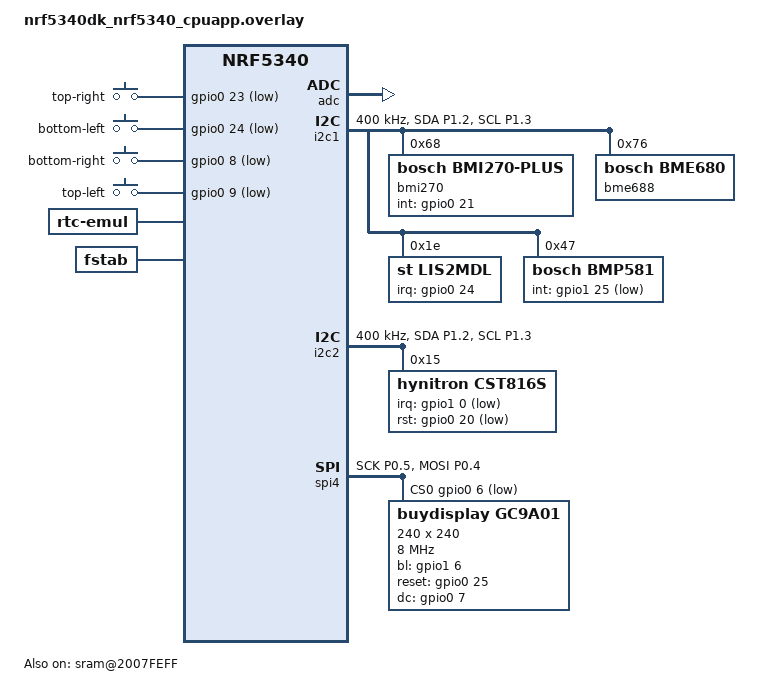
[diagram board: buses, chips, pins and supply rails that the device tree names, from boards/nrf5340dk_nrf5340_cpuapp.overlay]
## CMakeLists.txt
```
cmake_minimum_required(VERSION 3.20.0)

# Apply patches before build
file(GLOB_RECURSE files RELATIVE ${CMAKE_SOURCE_DIR} "patches/*.patch")
foreach(file ${files})
    execute_process(COMMAND 
                    patch -p1 -d $ENV{ZEPHYR_BASE} -i ${CMAKE_CURRENT_SOURCE_DIR}/${file} -r - --no-backup-if-mismatch)
endforeach()

# Get the target hardware
string(REGEX MATCH "zswatch_nrf5340_cpuapp(_ns)?@([0-9]+)$" ZSWATCH_BOARD "${BOARD}")
if(ZSWATCH_BOARD)
    string(CONCAT VERSION_STRING "\"" ${CMAKE_MATCH_2} "\"")
    set(CONFIG_ZSWATCH_PCB_REV ${CMAKE_MATCH_2} CACHE INTERNAL "")
    set(CONFIG_BT_DIS_HW_REV_STR ${VERSION_STRING} CACHE INTERNAL "")

    message("PCB revision: " ${CONFIG_ZSWATCH_PCB_REV})

    if(CONFIG_ZSWATCH_PCB_REV GREATER_EQUAL 3)
        set(PM_STATIC_YML_FILE ${CMAKE_CURRENT_SOURCE_DIR}/partition_external.yml)
    else()
        set(PM_STATIC_YML_FILE ${CMAKE_CURRENT_SOURCE_DIR}/partition_internal.yml)
    endif()
elseif("nrf5340dk_nrf5340_cpuapp" STREQUAL "${BOARD}")
    set(PM_STATIC_YML_FILE ${CMAKE_CURRENT_SOURCE_DIR}/partition_external.yml)
endif()

if(CONFIG_BOOTLOADER_MCUBOOT)
    # TODO: Needed for MCUBoot
    #set(DFU_BUILD true)
    #set(PM_STATIC_YML_FILE ${CMAKE_CURRENT_SOURCE_DIR}/partition_mcuboot.yml)
    #set(OVERLAY_CONFIG ${CMAKE_CURRENT_SOURCE_DIR}/boards/dfu.conf)
    #set(mcuboot_DTC_OVERLAY_FILE ${CMAKE_CURRENT_SOURCE_DIR}/overlays/mcuboot.overlay)
endif()

set(BOARD_ROOT ${CMAKE_CURRENT_SOURCE_DIR})

find_package(Zephyr REQUIRED HINTS $ENV{ZEPHYR_BASE})
project(ZSWatchFW)

# These are XIP related anomalies and aren't applicable for us and cause
# throughput issues and QSPI issues on NCS 2.6.0
zephyr_compile_definitions(
  -DNRF53_ERRATA_43_ENABLE_WORKAROUND=0
  -DNRF52_ERRATA_215_ENABLE_WORKAROUND=0
  -DNRF53_ERRATA_159_ENABLE_WORKAROUND=0 #Not allowing 128MHz CPU with QPSI at same time. We take the risk of this errata that may cause currupt QPSI data.
)

add_subdirectory(drivers)
add_subdirectory(src/history)
add_subdirectory(src/applications)
add_subdirectory(src/ui/watchfaces)
add_subdirectory(src/sensors)
add_subdirectory(src/sensor_fusion)
add_subdirectory(src/events)
add_subdirectory(src/managers)
add_subdirectory(src/drivers)
add_subdirectory(src/ble)
add_subdirectory(src/images)

include_directories(src/)
include_directories(src/ui)
include_directories(src/applications)
include_directories(src/ui/watchfaces)

if (CONFIG_DT_HAS_NORDIC_NPM1300_ENABLED)
    add_subdirectory(src/fuel_gauge)
else()
    add_subdirectory(src/basic_battery)
endif()

# TODO
target_sources(app PRIVATE src/zsw_clock.c)
#if (CONFIG_RTC)
#    target_sources(app PRIVATE src/zsw_rtc.c)
#else()
#endif()

target_sources(app PRIVATE src/main.c)
target_sources(app PRIVATE src/zsw_cpu_freq.c)
target_sources(app PRIVATE src/zsw_retained_ram_storage.c)
target_sources(app PRIVATE src/zsw_coredump.c)

target_sources(app PRIVATE src/ui/notification/zsw_popup_notifcation.c)
target_sources(app PRIVATE src/ui/popup/zsw_popup_window.c)
target_sources(app PRIVATE src/ui/utils/zsw_ui_utils.c)

target_sources(app PRIVATE src/ui/watchfaces/zsw_watchface_dropdown_ui.c)

target_sources_ifdef(CONFIG_SPI_FLASH_LOADER app PRIVATE src/filesystem/zsw_rtt_flash_loader.c)
target_sources_ifdef(CONFIG_FILE_SYSTEM_LITTLEFS app PRIVATE src/filesystem/zsw_filesystem.c)
target_sources_ifdef(CONFIG_FILE_SYSTEM_LITTLEFS app PRIVATE src/filesystem/zsw_lvgl_spi_decoder.c)

target_sources_ifdef(CONFIG_RTC_ALARM app PRIVATE src/zsw_alarm.c)


if(DFU_BUILD)
    target_sources(app PRIVATE src/dfu.c)
endif()

FILE(GLOB events_sources src/events/*.c)
target_sources(app PRIVATE ${events_sources})

add_compile_definitions(LV_LVGL_H_INCLUDE_SIMPLE)

file(GLOB ext_fs_files "src/images/binaries/S/*.*")
list(LENGTH ext_fs_files num_ext_fs_files)
add_compile_definitions(NUM_RAW_FS_FILES=${num_ext_fs_files})
message("Number of external filesystem files:" ${num_ext_fs_files})

# TODO fix all of them. New since NCS 2.7
set_target_properties(app PROPERTIES COMPILE_FLAGS -Wno-double-promotion)
zephyr_compile_options(-Wno-double-promotion)
```

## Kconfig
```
menu "Zephyr Kernel"
    source "Kconfig.zephyr"
endmenu

menu "ZSWatch"
    config ZSWATCH_PCB_REV
        int
    prompt "ZSWatch PCB revision"
    default 5

    menu "Applications"
        config APPLICATIONS_USE_2048
            bool
        prompt "Activate the application '2048'"
        default y

        config APPLICATIONS_USE_ACCELEROMETER
            bool
        prompt "Activate the application 'Accelerometer'"
        default y

        config APPLICATIONS_USE_COMPASS
            bool
        prompt "Activate the application 'Compass'"
        default y

        config APPLICATIONS_USE_INFO
            bool
        prompt "Activate the application 'Info'"
        default y

        config APPLICATIONS_USE_QR_CODE
            bool
        prompt "Activate the application 'QR-Code'"
        default y if LV_Z_USE_FILESYSTEM

        config APPLICATIONS_USE_SENSORS_SUMMARY
            bool
        prompt "Activate the application 'Sensors Summary'"
        default y

        config APPLICATIONS_USE_X_RAY
            bool
        prompt "Activate the application 'X-Ray'"
        default y if LV_Z_USE_FILESYSTEM

        config APPLICATIONS_USE_ZDS
            bool
        prompt "Activate the application 'ZDS'"
        default n
        select APPLICATIONS_USE_ACCELEROMETER

        config APPLICATIONS_USE_IAQ
            bool
        prompt "Activate the application 'IAQ'"
        depends on EXTERNAL_USE_BOSCH_BSEC && LV_Z_USE_FILESYSTEM
        default n

        config APPLICATIONS_USE_TRIVIA
            bool
        prompt "Activate the application 'Trivia'"
        default y

        config APPLICATIONS_USE_PPT_REMOTE
            bool
        prompt "Activate the application 'PPT remote'"
        default n

        menu "Configuration"
            menu "Compass"
                depends on APPLICATIONS_USE_COMPASS

                config APPLICATIONS_CONFIGURATION_COMPASS_REFRESH_INTERVAL_MS
                    int
                prompt "Refresh interval in milliseconds"
                default 50

                config APPLICATIONS_CONFIGURATION_COMPASS_CALIBRATION_TIME_S
                    int
                prompt "Calibration time in seconds"
                default 30
            endmenu

            menu "Sensors Summary"
                depends on APPLICATIONS_USE_SENSORS_SUMMARY

                config APPLICATIONS_CONFIGURATION_SENSORS_SUMMARY_REFRESH_INTERVAL_MS
                    int
                prompt "Refresh interval in milliseconds"
                default 100
            endmenu
        endmenu
        
        config APPLICATIONS_USE_LEA_ASSISTANT
            bool
            select BT_CENTRAL
            select BT_AUDIO
            select BT_BAP_BROADCAST_ASSISTANT
            select BT_TINYCRYPT_ECC
        prompt "Activate the application 'LE Audio Assistant'"
        default n
    endmenu

    menu "Watchface"
        config WATCHFACE_ANALOG
            bool
            prompt "Add analog watchface"
            default n

        config WATCHFACE_DIGITAL
            bool
            prompt "Add digital watchface"
            default y

        config WATCHFACE_MINIMAL
            bool
            prompt "Add minimal watchface"
            default y

        choice WATCHFACE_BACKGROUND_IMG
            bool
            prompt "Select which watchface background imgage to use. Not all watchfaces supports this."
            def_bool WATCHFACE_BACKGROUND_SPACE

        config WATCHFACE_BACKGROUND_SPACE
            prompt "Space themed background"
        config WATCHFACE_BACKGROUND_FLOWER
            prompt "Flower themed background"
        config WATCHFACE_BACKGROUND_PLANET
            prompt "Planet earth themed background"
        config WATCHFACE_BACKGROUND_NONE
            prompt "No background"
        endchoice
    endmenu

    menu "Default configuration"
        menu "ZSWatch Init Priorities"
            config DEFAULT_CONFIGURATION_DRIVER_INIT_PRIORITY
                int
                default 85
        endmenu

        menu "Power Management"
            config POWER_MANAGEMENT_IDLE_TIMEOUT_SECONDS
                int
            prompt "Idle timeout in seconds"
            default 20

            rsource "src/fuel_gauge/Kconfig"
        endmenu
    endmenu

    menu "External"
        choice EXTERNAL_BOSCH_SENSOR
            bool
            prompt "Select the function for the Bosch environment sensor."
            help
                You have to disable the BME680 option in the Zephyr configuration to enable the Bosch BSEC option.
            def_bool EXTERNAL_USE_BOSCH_BME688

        config EXTERNAL_USE_BOSCH_BSEC
            prompt "Use Bosch BSEC library"
            depends on !BME680
            select BME68X_EXT_IAQ

        config EXTERNAL_USE_BOSCH_BME688
            prompt "Use standard BME680 driver from Zephyr"
        endchoice
    endmenu

    menu "BLE"
        config BLE_DISABLE_PAIRING_REQUIRED
            bool
        prompt "Disable encryption required for BLE connection (pairing/bonding)"
        default n
        help
            "Disable encryption for BLE connection (pairing/bonding). Used only for debugging purposes."
    endmenu
    
    menu "SPI RTT Flash Loader"
        config SPI_FLASH_LOADER
            bool
        prompt "Enable SPI flash loader"
        default n
        select USE_SEGGER_RTT
        #select SEGGER_RTT_MODE_BLOCK_IF_FIFO_FULL
        help
            "Enable SPI flash loader"

        if SPI_FLASH_LOADER
            config ERASE_PROGRESSIVELY
                bool
            depends on SPI_FLASH_LOADER
            prompt "Erase sectors one by one when writing instead of full partition before starting."
            default y
            help
                "If not writing to the full partition this will be faster"

            config RTT_TRANSFER_CHANNEL
                int
            depends on SPI_FLASH_LOADER
            prompt "The RTT channel to use for transfer of data to and form flash"
            default 2
            help
                "If RTT logging is enabled, channel 0 is used for this, hence avoid 1 in this scenario."
        endif
    endmenu

    menu "Sensor Fusion"
        config SENSOR_FUSION_INCLUDE_MAGNETOMETER
            bool
        prompt "Include Magnetometer reading in sensor fusion algorithm"
        default y
        help
            "If the magnetometer is not well calibrated, you must disable this option."

        config SEND_SENSOR_READING_OVER_RTT
            bool
        prompt "Log sensor fusion reading to RTT"
        default 1
        help
            "Python script can be used to read, analyze the RTT channel and plot the sensor fusion reading."

        if SEND_SENSOR_READING_OVER_RTT
            config SENSOR_LOG_RTT_TRANSFER_CHANNEL
                int
            prompt "The RTT channel to use for transfer of sensor fusion reading"
            default 1
            help
                "If RTT logging is enabled"
        endif
    endmenu

    menu "Misc"
        config MISC_ENABLE_SYSTEM_RESET
            bool
        prompt "Enable a system reset via button 3"
        default n

        config MISC_HISTORY_MAX_LENGTH
            int
        range 10 65535
        prompt "The maximum history length in samples"
        default 672
    endmenu

    menu "Custom drivers"
        rsource "drivers/Kconfig"
    endmenu

    menu "Logging"
        module = ZSW_APP
        module-str = ZSW_APP
        source "subsys/logging/Kconfig.template.log_config"

        rsource "src/basic_battery/Kconfig"
        rsource "src/history/Kconfig"
        rsource "src/sensors/Kconfig"
        rsource "src/sensor_fusion/Kconfig"
        rsource "src/ble/Kconfig"
        rsource "src/applications/settings/Kconfig"
        rsource "src/applications/template/Kconfig"
        rsource "src/applications/iaq/Kconfig"
        rsource "src/applications/notification/Kconfig"
        rsource "src/applications/trivia/Kconfig"
        rsource "src/applications/ppt_remote/Kconfig"
        rsource "src/applications/lea_assistant/Kconfig"
    endmenu
endmenu
```

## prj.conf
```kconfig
# Copyright (c) 2025 ZSWatch Project
# SPDX-License-Identifier: Apache-2.0

CONFIG_MAIN_STACK_SIZE=2048
CONFIG_SYSTEM_WORKQUEUE_STACK_SIZE=9500
CONFIG_HEAP_MEM_POOL_SIZE=60000
CONFIG_CBPRINTF_FP_SUPPORT=y
CONFIG_DEBUG_THREAD_INFO=y

# Shell: kernel thread monitoring
CONFIG_KERNEL_SHELL=y
CONFIG_THREAD_MONITOR=y
CONFIG_THREAD_STACK_INFO=y
CONFIG_INIT_STACKS=y
CONFIG_THREAD_ANALYZER=y
CONFIG_THREAD_ANALYZER_USE_LOG=n
CONFIG_THREAD_ANALYZER_USE_PRINTK=n

CONFIG_COMMON_LIBC_MALLOC_ARENA_SIZE=6144

CONFIG_ASSERT=y
CONFIG_ASSERT_VERBOSE=n
CONFIG_BT_ASSERT_VERBOSE=n
CONFIG_REBOOT=y
CONFIG_DISPLAY=y
CONFIG_BASE64=y

CONFIG_RETAINED_MEM=y
CONFIG_RETENTION=y
CONFIG_RETENTION_BOOT_MODE=y

CONFIG_I2C=y
CONFIG_SENSOR=y
CONFIG_ADC=y
CONFIG_LIS2MDL=y
CONFIG_LIS2MDL_MAG_ODR_RUNTIME=y
CONFIG_LIS2MDL_TRIGGER_OWN_THREAD=y

CONFIG_PINCTRL=y
CONFIG_PM_DEVICE=y
CONFIG_PM_DEVICE_RUNTIME=y
CONFIG_PM_DEVICE_RUNTIME_DEFAULT_ENABLE=n

CONFIG_PWM=y

CONFIG_COUNTER=y
CONFIG_NRFX_TIMER=y

CONFIG_SPI=y
CONFIG_GC9A01=y
CONFIG_INPUT=y
CONFIG_INPUT_SHELL=y
CONFIG_REGULATOR=y
CONFIG_REGULATOR_FIXED=y

# Used by Calculator app
CONFIG_SMF=y
CONFIG_SMF_ANCESTOR_SUPPORT=y
CONFIG_SMF_INITIAL_TRANSITION=y

# LVGL configuration
CONFIG_LVGL=y
CONFIG_LV_Z_LVGL_MUTEX=y
CONFIG_LV_Z_FLUSH_THREAD=y
CONFIG_LV_Z_FLUSH_THREAD_PRIORITY=0
CONFIG_LV_FONT_MONTSERRAT_10=y
CONFIG_LV_FONT_MONTSERRAT_12=y
CONFIG_LV_FONT_MONTSERRAT_14=y
CONFIG_LV_FONT_MONTSERRAT_16=y
CONFIG_LV_FONT_MONTSERRAT_18=y
CONFIG_LV_FONT_MONTSERRAT_20=y
CONFIG_LV_FONT_MONTSERRAT_28=y
CONFIG_LV_Z_POINTER_INPUT_MSGQ_COUNT=200
CONFIG_LV_Z_POINTER_INPUT=y

CONFIG_LV_CACHE_DEF_SIZE=10
CONFIG_LV_IMAGE_HEADER_CACHE_DEF_CNT=10
CONFIG_LV_USE_CUSTOM_SPRINTF=y
CONFIG_LV_Z_DOUBLE_VDB=y
CONFIG_LV_Z_VDB_SIZE=10
CONFIG_LV_DEF_REFR_PERIOD=30

CONFIG_LV_THEME_DEFAULT_DARK=y
CONFIG_LV_USE_THEME_DEFAULT=y

CONFIG_LV_COLOR_16_SWAP=y
CONFIG_LV_COLOR_DEPTH_16=y

# LVGL Size optimizations
CONFIG_LV_CONF_MINIMAL=y
CONFIG_LV_LABEL_TEXT_SELECTION=n
CONFIG_LV_LABEL_LONG_TXT_HINT=n
CONFIG_LV_USE_LOG=y
CONFIG_LV_USE_DROPDOWN=y
CONFIG_LV_USE_LINE=y
CONFIG_LV_USE_SLIDER=y
CONFIG_LV_USE_SWITCH=y
CONFIG_LV_USE_FLEX=y
CONFIG_LV_USE_ANIMIMG=y
CONFIG_LV_USE_CHART=y
CONFIG_LV_USE_LED=y
CONFIG_LV_USE_MENU=y
CONFIG_LV_USE_MSGBOX=y
CONFIG_LV_USE_SPINNER=y
CONFIG_LV_USE_TILEVIEW=y
CONFIG_LV_USE_GIF=y
CONFIG_LV_USE_LABEL=y
CONFIG_LV_USE_IMAGE=y
CONFIG_LV_USE_ARC=y
CONFIG_LV_USE_BUTTON=y
CONFIG_LV_USE_BUTTONMATRIX=y
CONFIG_LV_USE_IMAGEBUTTON=y
CONFIG_LV_USE_CHECKBOX=y
CONFIG_LV_USE_SCALE=y
CONFIG_LV_USE_ASSERT_NULL=y
CONFIG_LV_USE_ASSERT_MALLOC=y
CONFIG_LV_FONT_DEFAULT_MONTSERRAT_14=y
CONFIG_LV_WIDGETS_HAS_DEFAULT_VALUE=y
CONFIG_LV_TXT_ENC_UTF8=y
CONFIG_LV_USE_BIDI=y

CONFIG_LV_DRAW_SW_SUPPORT_RGB565=y
CONFIG_LV_DRAW_SW_SUPPORT_RGB565A8=y
CONFIG_LV_DRAW_SW_SUPPORT_RGB888=n
CONFIG_LV_DRAW_SW_SUPPORT_XRGB8888=n
CONFIG_LV_DRAW_SW_SUPPORT_ARGB8888=y
CONFIG_LV_DRAW_SW_SUPPORT_L8=n
CONFIG_LV_DRAW_SW_SUPPORT_AL88=n
CONFIG_LV_DRAW_SW_SUPPORT_A8=n
CONFIG_LV_DRAW_SW_SUPPORT_I1=n

#
# Memory settings
#
CONFIG_LV_Z_MEM_POOL_SIZE=50000
# end of Memory settings

# NVS
CONFIG_FLASH=y
CONFIG_FLASH_INIT_PRIORITY=40
CONFIG_FLASH_MAP=y
CONFIG_MPU_ALLOW_FLASH_WRITE=y
CONFIG_FLASH_PAGE_LAYOUT=y
CONFIG_STREAM_FLASH=y
CONFIG_STREAM_FLASH_ERASE=y
CONFIG_FLASH_MAP_LABELS=y

CONFIG_SETTINGS=y
CONFIG_NVS=y

# Filesystem
CONFIG_FILE_SYSTEM=y
CONFIG_FILE_SYSTEM_MKFS=y
CONFIG_FILE_SYSTEM_LITTLEFS=y
CONFIG_LV_Z_USE_FILESYSTEM=y

CONFIG_MCUMGR_GRP_FS_MAX_FILE_SIZE_4GB=y
CONFIG_MCUMGR_GRP_FS_FILE_STATUS=y
# Lets the phone verify a downloaded recording before deleting it on the watch.
CONFIG_MCUMGR_GRP_FS_CHECKSUM_HASH=y
CONFIG_MCUMGR_GRP_FS_HASH_SHA256=y

CONFIG_FS_LITTLEFS_FC_HEAP_SIZE=16384
CONFIG_FS_LITTLEFS_NUM_FILES=64

# Image resources
CONFIG_DEBUG_COREDUMP_BACKEND_OTHER=y
CONFIG_STORE_IMAGES_EXTERNAL_FLASH=y

# Bluetooth
CONFIG_BT=y
CONFIG_BT_HCI=y
CONFIG_BT_HCI_ACL_FLOW_CONTROL=y
# Enable chaining of multiple CTEs in periodic advertising
CONFIG_BT_SMP=y
CONFIG_BT_SMP_APP_PAIRING_ACCEPT=y
CONFIG_BT_PERIPHERAL=y
CONFIG_BT_DIS=y
CONFIG_BT_DIS_PNP=n
CONFIG_BT_DIS_HW_REV=y
CONFIG_BT_DIS_MODEL_NUMBER=y
CONFIG_BT_DIS_MODEL_NUMBER_STR="ZSWatch"
CONFIG_BT_BAS=y
CONFIG_BT_HRS=n
CONFIG_BT_DEVICE_NAME="ZSWatch"
CONFIG_BT_DEVICE_APPEARANCE=194
CONFIG_BT_KEYS_OVERWRITE_OLDEST=y
CONFIG_BT_SETTINGS=y
CONFIG_BT_MAX_PAIRED=5
CONFIG_BT_MAX_CONN=1
CONFIG_BT_GATT_CLIENT=y
CONFIG_BT_GATT_CACHING=y
CONFIG_BT_GATT_NOTIFY_MULTIPLE=y
# Full MTU-3 payloads do not fit the larger multiple-notification header.
CONFIG_BT_GATT_NOTIFY_MULTIPLE_FLUSH_MS=0

CONFIG_BT_BROADCASTER=y
CONFIG_BT_SMP_ALLOW_UNAUTH_OVERWRITE=y

CONFIG_BT_L2CAP_TX_MTU=247
CONFIG_BT_BUF_ACL_RX_SIZE=502
CONFIG_BT_BUF_ACL_TX_SIZE=251

CONFIG_BT_BUF_ACL_RX_COUNT_EXTRA=20
CONFIG_BT_BUF_EVT_RX_COUNT=20
CONFIG_BT_BUF_ACL_TX_COUNT=15

CONFIG_BT_DATA_LEN_UPDATE=y
CONFIG_BT_AUTO_PHY_PERIPHERAL_2M=y
CONFIG_BT_USER_PHY_UPDATE=y
CONFIG_BT_USER_DATA_LEN_UPDATE=y
CONFIG_BT_AUTO_DATA_LEN_UPDATE=y
CONFIG_BT_GAP_AUTO_UPDATE_CONN_PARAMS=n
# Idle connection parameters (400-500 ms), used by ble_comm.c when no
# short-interval reason is active.
CONFIG_BT_PERIPHERAL_PREF_MIN_INT=320
CONFIG_BT_PERIPHERAL_PREF_MAX_INT=400
CONFIG_BT_PERIPHERAL_PREF_TIMEOUT=400
# ble_comm.c decides when to request parameters (after the MTU exchange);
# do not let Zephyr hold the first request back.
CONFIG_BT_CONN_PARAM_UPDATE_TIMEOUT=0

# ble_comm.c owns the connection interval; SMP traffic is one of its reasons.
CONFIG_MCUMGR_TRANSPORT_BT_CONN_PARAM_CONTROL=n

# iOS ble GATT server
CONFIG_BT_GATTP=y
CONFIG_BT_GATT_DM=y
CONFIG_BT_AMS_CLIENT=y
CONFIG_BT_ANCS_CLIENT=y
CONFIG_BT_CTS_CLIENT=y

# Don't change this
CONFIG_BT_RECV_WORKQ_SYS=y

CONFIG_PICOLIBC=y
CONFIG_PICOLIBC_IO_FLOAT=y
# Time, timezone and environment support without unused POSIX thread pools.
CONFIG_POSIX_SYSTEM_INTERFACES=y
CONFIG_POSIX_TIMERS=y
CONFIG_POSIX_SINGLE_PROCESS=y
CONFIG_XSI_SINGLE_PROCESS=y

# By default disable UART to save power

CONFIG_ZBUS=y
CONFIG_ZBUS_RUNTIME_OBSERVERS=y
CONFIG_ZBUS_CHANNEL_NAME=y
CONFIG_ZBUS_OBSERVER_NAME=y
CONFIG_ZBUS_CHANNELS_SYS_INIT_PRIORITY=1

# Choose one or many of below
CONFIG_WATCHFACE_DIGITAL=y
CONFIG_WATCHFACE_MINIMAL=n

# Default watch
CONFIG_POWER_MANAGEMENT_IDLE_TIMEOUT_SECONDS=20
CONFIG_APPLICATIONS_CONFIGURATION_SENSORS_SUMMARY_REFRESH_INTERVAL_MS=100
# Until proper magnetometer calibration is implemented, disable it by default as it makes fusion worse
CONFIG_SENSOR_FUSION_INCLUDE_MAGNETOMETER=n

# CST816S
CONFIG_INPUT_CST816S_INTERRUPT=y
CONFIG_INPUT_CST816S=y
CONFIG_INPUT_CST816S_EV_DEVICE=y

# BMI270
CONFIG_ZSW_BMI270=y
CONFIG_ZSW_BMI270_TRIGGER_GLOBAL_THREAD=y

CONFIG_RESET_ON_FATAL_ERROR=y

CONFIG_DEBUG_COREDUMP=y
CONFIG_DEBUG_COREDUMP_MEMORY_DUMP_MIN=y
CONFIG_RETENTION_MUTEX_FORCE_DISABLE=y
CONFIG_RETAINED_MEM_MUTEX_FORCE_DISABLE=y
CONFIG_RETENTION_BUFFER_SIZE=256

CONFIG_CJSON_LIB=y
CONFIG_MPU=y

# Configure logging
CONFIG_ZSW_APP_LOG_LEVEL_WRN=y
CONFIG_ZSW_XIP_MANAGER_LOG_LEVEL_WRN=y
CONFIG_ZSW_MIC_MANAGER_LOG_LEVEL_WRN=y
CONFIG_ZSW_UI_CONTROLLER_LOG_LEVEL_WRN=y
```

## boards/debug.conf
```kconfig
CONFIG_BLE_DISABLE_PAIRING_REQUIRED=y
CONFIG_SENSOR_LOG_LEVEL_WRN=y
CONFIG_THREAD_NAME=y
CONFIG_PRINTK=y

# SEGGER RTT logging instead of UART
CONFIG_LOG_PRINTK=y
CONFIG_LOG=y
CONFIG_DEBUG_OPTIMIZATIONS=y
CONFIG_USE_SEGGER_RTT=y
CONFIG_LOG_BACKEND_RTT=y
CONFIG_LOG_BACKEND_RTT_MODE_BLOCK=y
CONFIG_LOG_BUFFER_SIZE=4096
CONFIG_LOG_BACKEND_RTT_OUTPUT_BUFFER_SIZE=128
CONFIG_LOG_BLOCK_IN_THREAD=y
# End of SEGGER RTT
```

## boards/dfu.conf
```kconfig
#---------------
# FLASH
#-----------------
CONFIG_FLASH=y
CONFIG_FLASH_PAGE_LAYOUT=y
CONFIG_STREAM_FLASH=y
CONFIG_FLASH_MAP=y
CONFIG_NVS=y
CONFIG_SPI_NOR=y
CONFIG_SPI_NOR_SFDP_RUNTIME=y
CONFIG_SPI_NOR_IDLE_IN_DPD=y
CONFIG_SPI_NOR_FLASH_LAYOUT_PAGE_SIZE=4096
# -----------
# BOOTLOADER
# ------------
CONFIG_BOOTLOADER_MCUBOOT=y
CONFIG_PM_EXTERNAL_FLASH_MCUBOOT_SECONDARY=y
CONFIG_MCUMGR=y
CONFIG_ZCBOR=y
CONFIG_IMG_MANAGER=y
CONFIG_MCUMGR_GRP_IMG=y
CONFIG_MCUMGR_GRP_OS=y
CONFIG_MCUMGR_MGMT_NOTIFICATION_HOOKS=y
CONFIG_MCUMGR_GRP_IMG_STATUS_HOOKS=y
CONFIG_MCUMGR_GRP_IMG_UPLOAD_CHECK_HOOK=y
CONFIG_MCUBOOT_GENERATE_UNSIGNED_IMAGE=y
CONFIG_MCUBOOT_GENERATE_CONFIRMED_IMAGE=n
# SMP
CONFIG_MCUMGR_TRANSPORT_BT=y
CONFIG_MCUMGR_TRANSPORT_BT_AUTHEN=n 
# Enable the mcumgr Packet Reassembly feature over Bluetooth and its configuration dependencies.
# MCUmgr buffer size is optimized to fit one SMP packet divided into five Bluetooth Write Commands,
# transmitted with the maximum possible MTU value: 498 bytes.
CONFIG_MCUMGR_TRANSPORT_BT_REASSEMBLY=y
CONFIG_MCUMGR_TRANSPORT_NETBUF_SIZE=2475
# Enable the storage erase command.
CONFIG_MCUMGR_GRP_ZBASIC=y
CONFIG_MCUMGR_GRP_ZBASIC_STORAGE_ERASE=y
# DFU over BT requires 
# increase of ble throughput
CONFIG_BT_L2CAP_TX_MTU=498
CONFIG_BT_BUF_ACL_RX_SIZE=502
CONFIG_BT_BUF_ACL_TX_SIZE=502

# Allow mcumgr to increase conn. parameters
# for a faster image transfer
CONFIG_MCUMGR_TRANSPORT_BT_CONN_PARAM_CONTROL=y
# Default settings for slower comm.
CONFIG_BT_PERIPHERAL_PREF_MIN_INT=400
CONFIG_BT_PERIPHERAL_PREF_MAX_INT=500
CONFIG_BT_PERIPHERAL_PREF_LATENCY=0
CONFIG_BT_PERIPHERAL_PREF_TIMEOUT=1000
```

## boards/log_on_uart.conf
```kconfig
CONFIG_USE_SEGGER_RTT=n
CONFIG_LOG_BACKEND_RTT=n
CONFIG_LOG_BACKEND_RTT_MODE_BLOCK=n
CONFIG_SERIAL=y
CONFIG_UART_CONSOLE=y
CONFIG_LOG_BACKEND_UART=y
CONFIG_CONSOLE=y
```

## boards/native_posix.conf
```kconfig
CONFIG_ZSWATCH_PCB_REV=3
CONFIG_BT_DIS_HW_REV_STR="3"

CONFIG_FLASH_SIMULATOR=y

CONFIG_I2C=n
CONFIG_PWM=n
CONFIG_SENSOR=n
CONFIG_ADC=n
CONFIG_BMI270_PLUS=n
CONFIG_LIS2MDL=n
CONFIG_LIS2MDL_MAG_ODR_RUNTIME=n
CONFIG_BME680=n
CONFIG_MAX30101=n
CONFIG_APDS9306=n
CONFIG_APDS9306_IS_APDS9306_065=n
CONFIG_MAX30101_MULTI_LED_MODE=n
CONFIG_APDS9306=n
CONFIG_PINCTRL=n
CONFIG_TEST_RANDOM_GENERATOR=y

CONFIG_GPIO=y
CONFIG_INPUT=y
CONFIG_INPUT_LONGPRESS=n
CONFIG_INPUT_SDL_TOUCH=y
CONFIG_GPIO_EMUL_SDL=y

CONFIG_RTC=y
CONFIG_RTC_ALARM=y
CONFIG_RTC_EMUL=y
CONFIG_RTC_UPDATE=y

CONFIG_SPI=n
CONFIG_GC9A01=n
CONFIG_INPUT_MODIFIED_CST816S=n
CONFIG_INPUT_CST816S_INTERRUPT=n
CONFIG_REGULATOR=n
CONFIG_REGULATOR_FIXED=n

CONFIG_SDL_DISPLAY_DEFAULT_PIXEL_FORMAT_RGB_565=y

CONFIG_NEWLIB_LIBC=n
CONFIG_NEWLIB_LIBC_FLOAT_PRINTF=n
CONFIG_POSIX_API=n

CONFIG_CONSOLE=y

CONFIG_BLE_DISABLE_PAIRING_REQUIRED=y
CONFIG_THREAD_NAME=y
CONFIG_PRINTK=y

CONFIG_LOG_PRINTK=y
CONFIG_LOG=y
CONFIG_DEBUG_OPTIMIZATIONS=y

CONFIG_SPI_FLASH_LOADER=n

CONFIG_BT_EXT_ADV=n

CONFIG_SDL_DISPLAY_ZOOM_PCT=200
CONFIG_SDL_DISPLAY_USE_HARDWARE_ACCELERATOR=n
CONFIG_LV_Z_FLUSH_THREAD=n
```

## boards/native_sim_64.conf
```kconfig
# Copyright (c) 2025 ZSWatch Project
# SPDX-License-Identifier: Apache-2.0

CONFIG_FLASH_SIMULATOR=y
CONFIG_STORE_IMAGES_EXTERNAL_FLASH=n

CONFIG_EMUL=y

CONFIG_I2C=n
CONFIG_PWM=n
CONFIG_SENSOR=y
CONFIG_SENSOR_LOG_LEVEL_WRN=y
CONFIG_ADC=n
CONFIG_ZSW_BMI270=n
CONFIG_LIS2MDL=n
CONFIG_LIS2MDL_MAG_ODR_RUNTIME=n
CONFIG_BME680=n
CONFIG_MAX30101=n
CONFIG_APDS9306=y
CONFIG_ZSW_APDS9306_EMUL=y
CONFIG_ZSW_BMP581=y
CONFIG_ZSW_BMP581_EMUL=y
CONFIG_MAX30101_MULTI_LED_MODE=n
CONFIG_PINCTRL=n
CONFIG_TEST_RANDOM_GENERATOR=y
CONFIG_REGULATOR=y

CONFIG_GPIO=y
CONFIG_INPUT=y
CONFIG_INPUT_LONGPRESS=n
CONFIG_INPUT_SDL_TOUCH=y
CONFIG_GPIO_EMUL_SDL=y

CONFIG_RTC=y
CONFIG_RTC_ALARM=y
CONFIG_RTC_EMUL=y

CONFIG_SPI=n
CONFIG_GC9A01=n
CONFIG_INPUT_MODIFIED_CST816S=n
CONFIG_INPUT_CST816S_INTERRUPT=n
CONFIG_REGULATOR_FIXED=n

CONFIG_SDL_DISPLAY_DEFAULT_PIXEL_FORMAT_RGB_565=y

CONFIG_PICOLIBC=n
CONFIG_EXTERNAL_LIBC=y

CONFIG_CONSOLE=y

CONFIG_BLE_DISABLE_PAIRING_REQUIRED=y
CONFIG_THREAD_NAME=y
CONFIG_PRINTK=y

CONFIG_LOG_PRINTK=y
CONFIG_LOG=y
CONFIG_DEBUG_OPTIMIZATIONS=y

CONFIG_SPI_FLASH_LOADER=n

CONFIG_BT_EXT_ADV=n

CONFIG_SDL_DISPLAY_ZOOM_PCT=200
CONFIG_SDL_DISPLAY_USE_HARDWARE_ACCELERATOR=n
CONFIG_LV_Z_FLUSH_THREAD=n


CONFIG_FILE_SYSTEM=y
CONFIG_FILE_SYSTEM_LITTLEFS=y
CONFIG_LV_Z_USE_FILESYSTEM=y

CONFIG_FS_LITTLEFS_FC_HEAP_SIZE=16384
CONFIG_FS_LITTLEFS_NUM_FILES=64

CONFIG_MBEDTLS_HEAP_SIZE=16384

CONFIG_ZCBOR=y

# Mic
CONFIG_ZSW_MIC=y
CONFIG_AUDIO_DMIC_EMUL=y
```

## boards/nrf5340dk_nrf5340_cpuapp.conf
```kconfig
#---------------
# FLASH
#-----------------
CONFIG_FLASH=y
CONFIG_FLASH_PAGE_LAYOUT=y
CONFIG_STREAM_FLASH=y
CONFIG_FLASH_MAP=y
CONFIG_NVS=y
CONFIG_NORDIC_QSPI_NOR=y
CONFIG_NORDIC_QSPI_NOR_FLASH_LAYOUT_PAGE_SIZE=4096

CONFIG_MPU_ALLOW_FLASH_WRITE=y

CONFIG_FILE_SYSTEM=y
CONFIG_FILE_SYSTEM_LITTLEFS=y
CONFIG_LV_Z_USE_FILESYSTEM=y
CONFIG_LV_IMG_CACHE_DEF_SIZE=10

CONFIG_FS_LITTLEFS_FC_HEAP_SIZE=16384

CONFIG_SPI_FLASH_LOADER=y

# NCS Partition Manager
# Make sure size matches dts
CONFIG_PM_PARTITION_REGION_SETTINGS_STORAGE_EXTERNAL=y
CONFIG_PM_PARTITION_SIZE_SETTINGS_STORAGE=0x100000
CONFIG_PM_PARTITION_REGION_LITTLEFS_EXTERNAL=y

# BME688 
CONFIG_BME680=y


#---------------
# FLASH
#-----------------
CONFIG_FLASH=y
CONFIG_FLASH_PAGE_LAYOUT=y
CONFIG_STREAM_FLASH=y
CONFIG_FLASH_MAP=y
CONFIG_NVS=y
CONFIG_NORDIC_QSPI_NOR=y
CONFIG_NORDIC_QSPI_NOR_FLASH_LAYOUT_PAGE_SIZE=4096

CONFIG_MPU_ALLOW_FLASH_WRITE=y

CONFIG_FILE_SYSTEM=y
CONFIG_FILE_SYSTEM_LITTLEFS=y
CONFIG_LV_Z_USE_FILESYSTEM=y
CONFIG_LV_IMG_CACHE_DEF_SIZE=10

CONFIG_FS_LITTLEFS_FC_HEAP_SIZE=16384

CONFIG_PM_PARTITION_REGION_SETTINGS_STORAGE_EXTERNAL=y
CONFIG_PM_PARTITION_SIZE_SETTINGS_STORAGE=0x100000

CONFIG_NRF_FUEL_GAUGE=y
```

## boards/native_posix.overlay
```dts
#include <zephyr/dt-bindings/input/input-event-codes.h>

/{

    aliases {
        rtc = &rtc;
    };

    sdl_dc {
        compatible = "zephyr,sdl-dc";
        height = <240>;
        width = <240>;
    };
};

&rtc {
    status = "okay";
    alarms-count = < 100 >;
};
 
```

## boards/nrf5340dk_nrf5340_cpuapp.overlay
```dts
/*
 * Copyright (c) 2023 Jakob Krantz
 *
 * SPDX-License-Identifier: Apache-2.0
 */

 &pinctrl {
    // Set to I2C pins that the sensors are connected to
    i2c1_default: i2c1_default {
        group1 {
            psels = <NRF_PSEL(TWIM_SDA, 1, 2)>,
                <NRF_PSEL(TWIM_SCL, 1, 3)>;
        };
    };

    i2c1_sleep: i2c1_sleep {
        group1 {
            psels = <NRF_PSEL(TWIM_SDA, 1, 2)>,
                <NRF_PSEL(TWIM_SCL, 1, 3)>;
            low-power-enable;
        };
    };

    // Set to I2C pins that the touch screen is connected to
    i2c2_default: i2c2_default {
        group1 {
            psels = <NRF_PSEL(TWIM_SDA, 1, 2)>,
                <NRF_PSEL(TWIM_SCL, 1, 3)>;
        };
    };

    i2c2_sleep: i2c2_sleep {
        group1 {
            psels = <NRF_PSEL(TWIM_SDA, 1, 2)>,
                <NRF_PSEL(TWIM_SCL, 1, 3)>;
            low-power-enable;
        };
    };

    // Set to the pins that the display is connected to
    spi4_default: spi4_default {
        group1 {
            psels = <NRF_PSEL(SPIM_SCK, 0, 5)>,
                <NRF_PSEL(SPIM_MOSI, 0, 4)>;
        };
    };

    spi4_sleep: spi4_sleep {
        group1 {
            psels = <NRF_PSEL(SPIM_SCK, 0, 5)>,
                <NRF_PSEL(SPIM_MOSI, 0, 4)>;
            low-power-enable;
        };
    };

};

/ {
    chosen {
        zephyr,display = &gc9a01;
        zephyr,keyboard-scan = &cst816s;
        nordic,pm-ext-flash = &mx25r64;
    };

    lvgl_pointer_input: lvgl_pointer {
        compatible = "zephyr,lvgl-pointer-input";
        input = <&cst816s>;
        swap-xy;
        invert-x;
    };

    aliases {
        magn = &lis2mdl;
        accel = &bmi270;
        input = &cst816s;
        rtc = &rtc;
    };

    longpress: longpress {
        input = <&buttons>;
        compatible = "zephyr,input-longpress";
        input-codes = <INPUT_KEY_KP0>;
        short-codes = <INPUT_KEY_4>;
        long-codes = <INPUT_KEY_Y>;
        long-delay-ms = <1000>;
    };

    buttons: buttons {
        compatible = "gpio-keys";
        button1: button_1 {
            label = "top-right";
            gpios = <&gpio0 23 (GPIO_PULL_UP | GPIO_ACTIVE_LOW)>;
            zephyr,code = <INPUT_KEY_1>;
        };
        button2: button_2 {
            label = "bottom-left";
            gpios = <&gpio0 24 (GPIO_PULL_UP | GPIO_ACTIVE_LOW)>;
            zephyr,code = <INPUT_KEY_2>;
        };
        button3: button_3 {
            label = "bottom-right";
            gpios = <&gpio0 8 (GPIO_PULL_UP | GPIO_ACTIVE_LOW)>;
            zephyr,code = <INPUT_KEY_3>;
        };
        button4: button_4z {
            label = "top-left";
            gpios = <&gpio0 9 (GPIO_PULL_UP | GPIO_ACTIVE_LOW)>;
            zephyr,code = <INPUT_KEY_KP0>;
        };
    };

    rtc: rtc {
        status = "okay";
        compatible = "zephyr,rtc-emul";
        alarms-count = < 10 >;
    };
};

&adc {
    status = "okay";
};

&gpiote {
    status = "okay";
};

&gpio0 {
    status = "okay";
    sense-edge-mask = < 0xffffffff >;
};

&gpio1 {
    status = "okay";
};

&i2c1 {
    compatible = "nordic,nrf-twim";
    status = "okay";
    clock-frequency = <I2C_BITRATE_FAST>;
    zephyr,concat-buf-size = <512>;
    pinctrl-0 = <&i2c1_default>;
    pinctrl-1 = <&i2c1_sleep>;
    pinctrl-names = "default", "sleep";

    bmi270: bmi270@68 {
        compatible = "bosch,bmi270-plus";
        reg = <0x68>;
        int-gpios = <&gpio0 21 (GPIO_PULL_DOWN | GPIO_ACTIVE_HIGH)>;
        invert-x;
        invert-y;
    };

    bme688: bme688@76 {
        compatible = "bosch,bme680";
        reg = <0x76>;
    };

    lis2mdl: lis2mdl@1e {
        compatible = "st,lis2mdl";
        reg = <0x1e>;
        irq-gpios = <&gpio0 24 0>;
    };

    bmp581: bmp581@47 {
        compatible = "bosch,bmp581";
        reg = <0x47>;
        int-gpios = <&gpio1 25 (GPIO_PULL_UP | GPIO_ACTIVE_LOW)>;
    };
};

&i2c2 {
    compatible = "nordic,nrf-twim";
    status = "okay";
    clock-frequency = <I2C_BITRATE_FAST>;
    pinctrl-0 = <&i2c2_default>;
    pinctrl-1 = <&i2c2_sleep>;
    pinctrl-names = "default", "sleep";

    cst816s: cst816s@15 {
        compatible = "hynitron,cst816s";
        reg = <0x15>;
        irq-gpios = <&gpio1 0 GPIO_ACTIVE_LOW>;
        rst-gpios = <&gpio0 20 GPIO_ACTIVE_LOW>;
    };
};

&spi4  {
    status = "okay";
    compatible = "nordic,nrf-spim";
    pinctrl-0 = <&spi4_default>;
    pinctrl-1 = <&spi4_sleep>;
    pinctrl-names = "default", "sleep";
    cs-gpios = <&gpio0 6 GPIO_ACTIVE_LOW>;

    gc9a01: gc9a01@0 {
        compatible = "buydisplay,gc9a01";
        status = "okay";
        spi-max-frequency = <8000000>;
        reg = <0>;
        width = <240>;
        height = <240>;
        bl-gpios = <&gpio1 6 GPIO_ACTIVE_HIGH>;
        reset-gpios = <&gpio0 25 GPIO_ACTIVE_HIGH>;
        dc-gpios = <&gpio0 7 GPIO_ACTIVE_HIGH>;
    };
};


/ {
	fstab {
		compatible = "zephyr,fstab";
		lvgl_lfs: lvgl_lfs {
			compatible = "zephyr,fstab,littlefs";
			mount-point = "/lvgl_lfs";
			partition = <&littlefs_storage>;
			automount;
			read-size = <1024>;
			prog-size = <512>;
			cache-size = <4096>;
			lookahead-size = <4096>;
			block-cycles = <512>;
		};
	};
};

/delete-node/ &storage_partition;

&mx25r64 {
	partitions {
		compatible = "fixed-partitions";
		#address-cells = <1>;
		#size-cells = <1>;

		littlefs_storage: partition@0 {
			label = "littlefs_storage";
			reg = <0x00000000 0x00200000>;
		};
		lvgl_raw_partition: partition@200000 {
			label = "lvgl_raw_partition";
			reg = <0x00200000 0x00200000>;
		};
        storage_partition: partition@400000 {
            label = "storage_partition";
            reg = <0x400000 0x100000 >;
        };
	};
};

/ {
    sram@2007FEFF {
        compatible = "zephyr,memory-region", "mmio-sram";
        reg = <0x2007FEFF 0x100>;
        zephyr,memory-region = "RetainedMem";
        status = "okay";

        retainedmem {
            compatible = "zephyr,retained-ram";
            status = "okay";
            #address-cells = <1>;
            #size-cells = <1>;

            retention0: retention@0 {
                compatible = "zephyr,retention";
                status = "okay";
                reg = <0x0 0xFB>;
                prefix = [04 fa];
                checksum = <1>;
            };
            // Last byte in RAM is for boot mode.
            // Du to debugger only supports writing 4 bytes at a time
            // we need to leave a 3 byte gap between the two retention areas.
            retention1: retention@FF {
                compatible = "zephyr,retention";
                status = "okay";
                reg = <0xFF 0x1>;
            };
        };
    };

    chosen {
            zephyr,boot-mode = &retention1;
    };
};

/*
* Reduce SRAM0 usage by 256 bytes to account for non-init area.
* The last 256 bytes of SRAM0 are used for retention memory.
*/
&sram0 {
    reg = <0x20000000 0x7FEFF>;
};
```

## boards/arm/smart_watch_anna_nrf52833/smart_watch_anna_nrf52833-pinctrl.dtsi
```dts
/*
 * Copyright (c) 2022 Nordic Semiconductor
 * SPDX-License-Identifier: Apache-2.0
 */

&pinctrl {
	// TODO remove for actual watch, no UART
	uart0_default: uart0_default {
		group1 {
			psels = <NRF_PSEL(UART_TX, 1, 5)>,
				<NRF_PSEL(UART_RX, 0, 29)>,
				<NRF_PSEL(UART_RTS, 0, 31)>,
				<NRF_PSEL(UART_CTS, 0, 23)>;
		};
	};

	uart0_sleep: uart0_sleep {
		group1 {
			psels = <NRF_PSEL(UART_TX, 1, 5)>,
				<NRF_PSEL(UART_RX, 0, 29)>,
				<NRF_PSEL(UART_RTS, 0, 31)>,
				<NRF_PSEL(UART_CTS, 0, 23)>;
			low-power-enable;
		};
	};

	i2c0_default: i2c0_default {
		group1 {
			psels = <NRF_PSEL(TWIM_SDA, 0, 27)>,
				<NRF_PSEL(TWIM_SCL, 0, 6)>;
		};
	};

	i2c0_sleep: i2c0_sleep {
		group1 {
			psels = <NRF_PSEL(TWIM_SDA, 0, 27)>,
				<NRF_PSEL(TWIM_SCL, 0, 6)>;
			low-power-enable;
		};
	};

	spi1_default: spi1_default {
		group1 {
			psels = <NRF_PSEL(SPIM_SCK, 0, 1)>,
				<NRF_PSEL(SPIM_MOSI, 0, 0)>;
				//<NRF_PSEL(SPIM_MISO, 0, 0)>;
		};
	};

	spi1_sleep: spi1_sleep {
		group1 {
			psels = <NRF_PSEL(SPIM_SCK, 0, 1)>,
				<NRF_PSEL(SPIM_MOSI, 0, 0)>;
				//<NRF_PSEL(SPIM_MISO, 0, 0)>;
			low-power-enable;
		};
	};

	spi2_default: spi2_default {
		group1 {
			psels = <NRF_PSEL(SPIM_SCK, 0, 14)>,
				<NRF_PSEL(SPIM_MOSI, 1, 9)>,
				<NRF_PSEL(SPIM_MISO, 0, 22)>;
		};
	};

	spi2_sleep: spi2_sleep {
		group1 {
			psels = <NRF_PSEL(SPIM_SCK, 0, 14)>,
				<NRF_PSEL(SPIM_MOSI, 1, 9)>,
				<NRF_PSEL(SPIM_MISO, 0, 22)>;
			low-power-enable;
		};
	};

	// Display BLK
	pwm0_default: pwm0_default {
		group1 {
			psels = <NRF_PSEL(PWM_OUT0, 0, 26)>;
		};
	};

	pwm0_sleep: pwm0_sleep {
		group1 {
			psels = <NRF_PSEL(PWM_OUT0, 0, 26)>;
			low-power-enable;
		};
	};

	// Vibration motor
	pwm1_default: pwm1_default {
		group1 {
			psels = <NRF_PSEL(PWM_OUT0, 0, 31)>;
		};
	};

	pwm1_sleep: pwm1_sleep {
		group1 {
			psels = <NRF_PSEL(PWM_OUT0, 0, 31)>;
			low-power-enable;
		};
	};

};
```

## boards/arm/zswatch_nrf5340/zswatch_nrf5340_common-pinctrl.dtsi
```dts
/*
 * Copyright (c) 2023 Jakob Krantz
 * SPDX-License-Identifier: Apache-2.0
 */

&pinctrl {
	pwm0_default: pwm0_default {
		group1 {
			psels = <NRF_PSEL(PWM_OUT0, 0, 6)>;
		};
	};

	pwm0_sleep: pwm0_sleep {
		group1 {
			psels = <NRF_PSEL(PWM_OUT0, 0, 6)>;
			low-power-enable;
		};
	};

	pwm1_default: pwm1_default {
		group1 {
			psels = <NRF_PSEL(PWM_OUT0, 1, 15)>;
		};
	};

	pwm1_sleep: pwm1_sleep {
		group1 {
			psels = <NRF_PSEL(PWM_OUT0, 1, 15)>;
			low-power-enable;
		};
	};

	i2c1_default: i2c1_default {
		group1 {
			psels = <NRF_PSEL(TWIM_SDA, 0, 17)>,
				<NRF_PSEL(TWIM_SCL, 0, 18)>;
		};
	};

	i2c1_sleep: i2c1_sleep {
		group1 {
			psels = <NRF_PSEL(TWIM_SDA, 0, 17)>,
				<NRF_PSEL(TWIM_SCL, 0, 18)>;
			low-power-enable;
		};
	};

	i2c2_default: i2c2_default {
		group1 {
			psels = <NRF_PSEL(TWIM_SDA, 1, 2)>,
				<NRF_PSEL(TWIM_SCL, 1, 3)>;
		};
	};

	i2c2_sleep: i2c2_sleep {
		group1 {
			psels = <NRF_PSEL(TWIM_SDA, 1, 2)>,
				<NRF_PSEL(TWIM_SCL, 1, 3)>;
			low-power-enable;
		};
	};

	spi3_default: spi3_default {
		group1 {
			psels = <NRF_PSEL(SPIM_SCK, 0, 1)>,
				<NRF_PSEL(SPIM_MOSI, 0, 0)>,
				<NRF_PSEL(SPIM_MISO, 0, 10)>;
			};
	};

	spi3_sleep: spi3_sleep {
		group1 {
			psels = <NRF_PSEL(SPIM_SCK, 0, 1)>,
				<NRF_PSEL(SPIM_MOSI, 0, 0)>,
				<NRF_PSEL(SPIM_MISO, 0, 10)>;
			low-power-enable;
		};
	};

	spi4_default: spi4_default {
		group1 {
			psels = <NRF_PSEL(SPIM_SCK, 0, 8)>,
				<NRF_PSEL(SPIM_MOSI, 0, 9)>,
				<NRF_PSEL(SPIM_MISO, 0, 5)>;
			};
	};

	spi4_sleep: spi4_sleep {
		group1 {
			psels = <NRF_PSEL(SPIM_SCK, 0, 8)>,
				<NRF_PSEL(SPIM_MOSI, 0, 9)>,
				<NRF_PSEL(SPIM_MISO, 0, 5)>;
			low-power-enable;
		};
	};

	spi4_default_no_touch: spi4_default_no_touch {
		group1 {
			psels = <NRF_PSEL(SPIM_SCK, 1, 3)>,
				<NRF_PSEL(SPIM_MOSI, 1, 0)>;
			};
		};

	spi4_sleep_no_touch: spi4_sleep_no_touch {
		group1 {
			psels = <NRF_PSEL(SPIM_SCK, 1, 3)>,
				<NRF_PSEL(SPIM_MOSI, 1, 0)>;
			low-power-enable;
		};
	};
	uart0_default: uart0_default {
		group1 {
			psels = <NRF_PSEL(UART_TX, 1, 13)>;
		};
	};

	uart0_sleep: uart0_sleep {
		group1 {
			psels = <NRF_PSEL(UART_TX, 1, 13)>;
			low-power-enable;
		};
	};
};
```

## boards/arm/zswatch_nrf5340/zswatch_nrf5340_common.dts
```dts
/*
 * Copyright (c) 2023 Jakob Krantz
 *
 * SPDX-License-Identifier: Apache-2.0
 */
#include "zswatch_nrf5340_common-pinctrl.dtsi"
#include <zephyr/dt-bindings/input/input-event-codes.h>

/ {
    chosen {
        zephyr,console = &uart0;
        zephyr,shell-uart = &uart0;
        zephyr,uart-mcumgr = &uart0;
        zephyr,bt-mon-uart = &uart0;
        zephyr,bt-c2h-uart = &uart0;
        zephyr,bt-hci-rpmsg-ipc = &ipc0;
        zephyr,ieee802154 = &ieee802154;
        zephyr,display = &gc9a01;
    };

    pwmleds {
        compatible = "pwm-leds";
        display_blk: pwm_led_0 {
            pwms = <&pwm0 0 PWM_MSEC(5) 0>;
        };
        vibrator_pwm: pwm_led_1 {
            pwms = <&pwm1 0 PWM_MSEC(20) 0>;
        };
    };

    lvgl_pointer_input: lvgl_pointer {
        compatible = "zephyr,lvgl-pointer-input";
        input = <&cst816s>;
        swap-xy;
        invert-x;
    };

    rtc: rtc {
        status = "okay";
        compatible = "zephyr,rtc-emul";
        alarms-count = < 10 >;
    };

    aliases {
        display-blk = &display_blk;
        vibrator-pwm = &vibrator_pwm;
        sw1 = &button1;
        sw2 = &button2;
        sw3 = &button3;
        sw4 = &button4;
        watchdog0 = &wdt0;
        mcuboot-button1 = &button1;
        rtc = &rtc;
    };
};

&pwm0 {
    status = "okay";
    pinctrl-0 = <&pwm0_default>;
    pinctrl-1 = <&pwm0_sleep>;
    pinctrl-names = "default", "sleep";
};

&pwm1 {
    status = "okay";
    pinctrl-0 = <&pwm1_default>;
    pinctrl-1 = <&pwm1_sleep>;
    pinctrl-names = "default", "sleep";
};

&adc {
    status = "okay";
};

&gpiote {
    status = "okay";
};

&gpio0 {
    status = "okay";
    sense-edge-mask = <0xffffffff>;
};

&gpio1 {
    status = "okay";
};

&i2c1 {
    compatible = "nordic,nrf-twim";
    status = "okay";
    clock-frequency = <I2C_BITRATE_FAST>;
    zephyr,concat-buf-size = <512>;

    pinctrl-0 = <&i2c1_default>;
    pinctrl-1 = <&i2c1_sleep>;
    pinctrl-names = "default", "sleep";
    
    bme688: bme688@76 {
        compatible = "bosch,bme680";
        reg = <0x76>;
        status = "okay";
    };

    lis2mdl: lis2mdl@1e {
        compatible = "st,lis2mdl";
        reg = <0x1e>;
        status = "okay";
        irq-gpios = <&gpio0 24 0>;
        cancel-offset;
    };

    bmp581: bmp581@47 {
        compatible = "bosch,bmp581";
        reg = <0x47>;
        status = "okay";
        int-gpios = <&gpio0 25 (GPIO_PULL_UP | GPIO_ACTIVE_LOW)>;
    };
};

&i2c2 {
    compatible = "nordic,nrf-twim";
    status = "okay";
    clock-frequency = <I2C_BITRATE_FAST>;

    pinctrl-0 = <&i2c2_default>;
    pinctrl-1 = <&i2c2_sleep>;
    pinctrl-names = "default", "sleep";

    cst816s: cst816s@15 {
        compatible = "hynitron,cst816s";
        reg = <0x15>;
        status = "okay";
        irq-gpios = <&gpio1 0 GPIO_ACTIVE_LOW>;
        rst-gpios = <&gpio0 20 GPIO_ACTIVE_LOW>;
    };
};

/* UART0 GPIOs can be configured for other use-cases */
&uart0 {
    current-speed = <115200>;
    status = "okay";
    pinctrl-0 = <&uart0_default>;
    pinctrl-1 = <&uart0_sleep>;
    pinctrl-names = "default", "sleep";
};

&timer0 {
    status = "okay";
};

&timer1 {
    status = "okay";
};

&timer2 {
    status = "okay";
};

&flash0 {
    partitions {
        compatible = "fixed-partitions";
        #address-cells = <1>;
        #size-cells = <1>;

        boot_partition: partition@0 {
            label = "mcuboot";
            reg = <0x00000000 0x00010000>;
        };
        slot0_partition: partition@10000 {
            label = "image-0";
        };
        slot0_ns_partition: partition@50000 {
            label = "image-0-nonsecure";
        };
        slot1_partition: partition@80000 {
            label = "image-1";
        };
        slot1_ns_partition: partition@c0000 {
            label = "image-1-nonsecure";
        };
        scratch_partition: partition@f0000 {
            label = "image-scratch";
            reg = <0x000f0000 0xa000>;
        };
        storage_partition: partition@fa000 {
            label = "storage";
            reg = <0x000fa000 0x00006000>;
        };
    };
};

zephyr_udc0: &usbd {
    compatible = "nordic,nrf-usbd";
    status = "okay";
};

/ {
    reserved-memory {
        #address-cells = <1>;
        #size-cells = <1>;
        ranges;

        sram0_image: image@20000000 {
            /* Zephyr image(s) memory */
        };

        sram0_s: image_s@20000000 {
            /* Secure image memory */
        };

        sram0_ns: image_ns@20040000 {
            /* Non-Secure image memory */
        };
    };
};

/ {
    sram@2007FEFF {
        compatible = "zephyr,memory-region", "mmio-sram";
        reg = <0x2007FEFF 0x100>;
        zephyr,memory-region = "RetainedMem";
        status = "okay";

        retainedmem {
            compatible = "zephyr,retained-ram";
            status = "okay";
            #address-cells = <1>;
            #size-cells = <1>;

            retention0: retention@0 {
                compatible = "zephyr,retention";
                status = "okay";
                reg = <0x0 0xFB>;
                prefix = [04 fa];
                checksum = <1>;
            };
            // Last byte in RAM is for boot mode.
            // Du to debugger only supports writing 4 bytes at a time
            // we need to leave a 3 byte gap between the two retention areas.
            retention1: retention@FF {
                compatible = "zephyr,retention";
                status = "okay";
                reg = <0xFF 0x1>;
            };
        };
    };

    chosen {
            zephyr,boot-mode = &retention1;
    };
};

/*
* Reduce SRAM0 usage by 256 bytes to account for non-init area.
* The last 256 bytes of SRAM0 are used for retention memory.
*/
&sram0 {
    reg = <0x20000000 0x7FEFF>;
};

/* Include partition configuration file */
#include "zswatch_nrf5340_partition_conf.dts"
```

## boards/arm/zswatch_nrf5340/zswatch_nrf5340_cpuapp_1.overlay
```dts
/ {
    vbatt {
        compatible = "voltage-divider";
        io-channels = <&adc 7>;
        output-ohms = <220000>;
        full-ohms = <(1500000 + 220000)>;
        power-gpios = <&gpio1 10 0>;
    };

    longpress: longpress {
        input = <&buttons>;
        compatible = "zephyr,input-longpress";
        input-codes = <INPUT_KEY_KP0>;
        short-codes = <INPUT_KEY_3>;
        long-codes = <INPUT_KEY_Y>;
        long-delay-ms = <10000>;
    };

	buttons: buttons {
        compatible = "gpio-keys";
        button1: button_1 {
            label = "top-right";
            gpios = <&gpio0 27 (GPIO_PULL_UP | GPIO_ACTIVE_LOW)>;
            zephyr,code = <INPUT_KEY_1>;
        };
        button2: button_2 {
            label = "bottom-left";
            gpios = <&gpio0 31 (GPIO_PULL_UP | GPIO_ACTIVE_LOW)>;
            zephyr,code = <INPUT_KEY_2>;
        };
        button3: button_3 {
            label = "bottom-right";
            gpios = <&gpio1 11 (GPIO_PULL_UP | GPIO_ACTIVE_LOW)>;
            zephyr,code = <INPUT_KEY_KP0>;
        };
        button4: button_4 {
            label = "top-left";
            gpios = <&gpio1 6 (GPIO_PULL_UP | GPIO_ACTIVE_LOW)>;
            zephyr,code = <INPUT_KEY_4>;
        };
    };

	regulator_3v3: regulator-3v3-ctrl {
        compatible = "regulator-fixed";
        regulator-name = "display";
        enable-gpios = <&gpio1 1 GPIO_ACTIVE_HIGH>;
        regulator-boot-on;
        startup-delay-us = <50000>;
    };

	vib_pwr: vib-pwr-ctrl {
        compatible = "regulator-fixed";
        regulator-name = "vib-pwr-ctrl";
        enable-gpios = <&gpio1 5 GPIO_ACTIVE_HIGH>;
    };
};

&i2c1 {
    bmi270: bmi270@68 {
        compatible = "bosch,bmi270-plus";
        reg = <0x68>;
        status = "okay";
        int-gpios = <&gpio0 21 (GPIO_PULL_DOWN | GPIO_ACTIVE_HIGH)>;
        invert-x;
        invert-y;
    };
};

&spi4  {
    status = "okay";
    compatible = "nordic,nrf-spim";
    pinctrl-0 = <&spi4_default>;
    pinctrl-1 = <&spi4_sleep>;
    pinctrl-names = "default", "sleep";
    cs-gpios = <&gpio0 11 GPIO_ACTIVE_LOW>;

    gc9a01: gc9a01@0 {
        compatible = "buydisplay,gc9a01";
        status = "okay";
        spi-max-frequency = <30000000>;
        reg = <0>;
        width = <240>;
        height = <240>;
        bl-gpios = <&gpio0 6 GPIO_ACTIVE_HIGH>;
        reset-gpios = <&gpio0 23 GPIO_ACTIVE_HIGH>;
        dc-gpios = <&gpio0 12 GPIO_ACTIVE_HIGH>;
    };
};
```

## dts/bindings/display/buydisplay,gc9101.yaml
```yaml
description: GC9A01 display controller

compatible: "buydisplay,gc9a01"

include: [spi-device.yaml, display-controller.yaml]


properties:
    reset-gpios:
      type: phandle-array
      required: true
      description: RESET pin.

        The RESET pin of GC9A01 is active low.
        If connected directly the MCU pin should be configured
        as active low.

    bl-gpios:
      type: phandle-array
      required: true
      description: BL pin.

        Pin for backlight PWM control.

    dc-gpios:
      type: phandle-array
      required: true
      description: DC pin.

        The DC pin of GC9A01 is active low (transmission command byte).
        If connected directly the MCU pin should be configured
        as active low.

    pwr:
      type: uint8-array
      required: false
      description: Power Setting (PWR) values

    softstart:
      type: uint8-array
      required: false
      description: Booster Soft Start (BTST) values

    cdi:
      type: int
      required: false
      description: VCOM and data interval value

    tcon:
      type: int
      required: false
      description: TCON setting value
on-bus: spi
```

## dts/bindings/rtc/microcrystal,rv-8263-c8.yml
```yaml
description: |
    The RV-8263-C8 is a CMOS real-time clock/calendar module optimized for low power consumption. An Offset
    register makes it possible to compensate for the frequency deviation of the clock of 32.768 kHz

compatible: "microcrystal,rv-8263-c8"

include: [rtc-device.yaml, i2c-device.yaml]

properties:
    int-gpios:
      type: phandle-array
      required: false

    fast_mode:
      type: boolean
      required: false
      description: |
        Enable fast offset mode (Offset every 4 minutes).

    offset:
      type: int
      required: false
      default: 0
      description:
        Offset for timer compensation.

    clkout:
      type: int
      required: false
      default: 0
      enum:
        - 32768
        - 8192
        - 1024
        - 64
        - 32
        - 1
        - 0
      description:
        CLKOUT frequency selection. Set to 0 to disable the CLKOUT signal (CLKOUT pin is LOW).
```

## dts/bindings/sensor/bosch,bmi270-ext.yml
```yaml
# SPDX-License-Identifier: Apache-2.0

description: |
    The BMI270 is an inertial measurement unit. See more info at:
    https://www.bosch-sensortec.com/products/motion-sensors/imus/bmi270.html

compatible: "bosch,bmi270-ext"

include: [sensor-device.yaml, i2c-device.yaml]

properties:
    int1-gpios:
      type: phandle-array
      required: false
    int2-gpios:
      type: phandle-array
      required: false
```

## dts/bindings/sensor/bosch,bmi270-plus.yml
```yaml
description: |
    The BMI270 is an inertial measurement unit. See more info at:
    https://www.bosch-sensortec.com/products/motion-sensors/imus/bmi270.html

compatible: "bosch,bmi270-plus"

include: [sensor-device.yaml, i2c-device.yaml]

properties:
    int-gpios:
      type: phandle-array
      required: false

    swap-xy:
      type: boolean
      description: |
        Swap x and y axis.

    invert-x:
      type: boolean
      description: |
        Invert the x axis.

    invert-y:
      type: boolean
      description: |
        Invert the y axis.

    rotation:
      type: int
      default: 0
      enum:
        - 0
        - 90
        - 180
        - 270
      description:
        Display rotation (CW) in degrees.
        This will apply a rotation after actual axis-remap.
        Used to allow generic rotation of PCB for all PCB revision.
```

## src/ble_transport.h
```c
#ifndef __BLE_TRANSPORT_H
#define __BLE_TRANSPORT_H

#include <zephyr/types.h>
#include <zephyr/bluetooth/conn.h>
#include <zephyr/bluetooth/uuid.h>
#include <zephyr/bluetooth/gatt.h>

// Using Nordic NUS as the Gadgetbridge app supports that
#define BLE_TRANSPORT_UUID_SERVICE   BT_UUID_DECLARE_128(BT_UUID_128_ENCODE(0x6e400001, 0xb5a3, 0xf393, 0xe0a9, 0xe50e24dcca9e))
#define BLE_TRANSPORT_UUID_RX        BT_UUID_DECLARE_128(BT_UUID_128_ENCODE(0x6e400002, 0xb5a3, 0xf393, 0xe0a9, 0xe50e24dcca9e))
#define BLE_TRANSPORT_UUID_TX        BT_UUID_DECLARE_128(BT_UUID_128_ENCODE(0x6e400003, 0xb5a3, 0xf393, 0xe0a9, 0xe50e24dcca9e))

#define BLE_UUID_TRANSPORT_VAL \
	BT_UUID_128_ENCODE(0x6e400001, 0xb5a3, 0xf393, 0xe0a9, 0xe50e24dcca9e)

struct ble_transport_cb {
    void (*data_receive)(struct bt_conn *connection, const uint8_t *const data, uint16_t length);
};

int ble_transport_init(struct ble_transport_cb *callback);
int ble_transport_send(struct bt_conn *connection, const uint8_t *data, uint16_t length);

#endif
```

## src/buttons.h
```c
#ifndef __BUTTONS_H
#define __BUTTONS_H

#include <zephyr/kernel.h>

/**
 * @brief Type of button event
 */
typedef enum buttonPressType_t {
    BUTTONS_SHORT_PRESS,
    BUTTONS_LONG_PRESS
} buttonPressType_t;

/**
 * @brief Button id
 */
typedef enum buttonId_t {
    BUTTON_TOP_RIGHT,
    BUTTON_TOP_LEFT,
    BUTTON_BOTTOM_RIGHT,
    BUTTON_BOTTOM_LEFT,
    BUTTON_END,
} buttonId_t;

typedef void(*buttonHandlerCallback_t)(buttonPressType_t type, buttonId_t id);

/**
 * @brief   Read button state
 * @param   button          Button id to read
 *
 * @return  1 if button is pressed, 0 if not
*/
int button_read(buttonId_t button);

#endif
```
